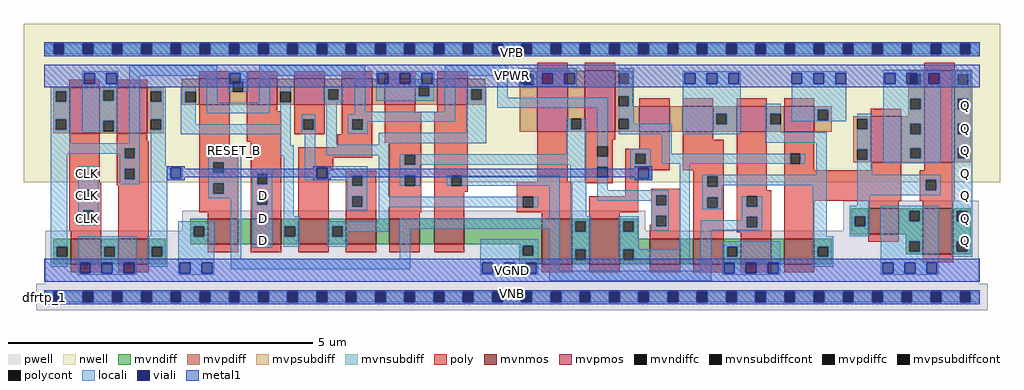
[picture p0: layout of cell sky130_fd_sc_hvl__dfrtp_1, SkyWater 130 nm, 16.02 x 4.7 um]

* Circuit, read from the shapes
.subckt sky130_fd_sc_hvl__dfrtp_1 CLK D RESET_B VGND VNB VPB VPWR Q
XM1 VGND CLK n1 VNB sky130_fd_pr__nfet_g5v0d10v5 w=0.42 l=0.5
XM2 n2 n1 VGND VNB sky130_fd_pr__nfet_g5v0d10v5 w=0.42 l=0.5
XM3 n3 RESET_B VGND VNB sky130_fd_pr__nfet_g5v0d10v5 w=0.42 l=0.5
XM4 n4 D n3 VNB sky130_fd_pr__nfet_g5v0d10v5 w=0.42 l=0.5
XM5 n5 n1 n4 VNB sky130_fd_pr__nfet_g5v0d10v5 w=0.42 l=0.5
XM6 n6 n2 n5 VNB sky130_fd_pr__nfet_g5v0d10v5 w=0.42 l=0.5
XM7 n7 n8 n6 VNB sky130_fd_pr__nfet_g5v0d10v5 w=0.42 l=0.5
XM8 VGND RESET_B n7 VNB sky130_fd_pr__nfet_g5v0d10v5 w=0.42 l=0.5
XM9 n8 n5 VGND VNB sky130_fd_pr__nfet_g5v0d10v5 w=0.75 l=0.5
XM10 n9 n2 n8 VNB sky130_fd_pr__nfet_g5v0d10v5 w=0.75 l=0.5
XM11 n10 n1 n9 VNB sky130_fd_pr__nfet_g5v0d10v5 w=0.42 l=0.5
XM12 VGND n11 n10 VNB sky130_fd_pr__nfet_g5v0d10v5 w=0.42 l=0.5
XM13 n12 RESET_B VGND VNB sky130_fd_pr__nfet_g5v0d10v5 w=0.42 l=0.5
XM14 n11 n9 n12 VNB sky130_fd_pr__nfet_g5v0d10v5 w=0.42 l=0.5
XM15 VGND n9 n13 VNB sky130_fd_pr__nfet_g5v0d10v5 w=0.42 l=0.5
XM16 Q n13 VGND VNB sky130_fd_pr__nfet_g5v0d10v5 w=0.75 l=0.5
XM17 VPWR CLK n1 VPB sky130_fd_pr__pfet_g5v0d10v5 w=0.75 l=0.5
XM18 n2 n1 VPWR VPB sky130_fd_pr__pfet_g5v0d10v5 w=0.75 l=0.5
XM19 VPWR RESET_B n4 VPB sky130_fd_pr__pfet_g5v0d10v5 w=0.42 l=0.5
XM20 n4 D VPWR VPB sky130_fd_pr__pfet_g5v0d10v5 w=0.42 l=0.5
XM21 n5 n2 n4 VPB sky130_fd_pr__pfet_g5v0d10v5 w=0.42 l=0.5
XM22 n14 n1 n5 VPB sky130_fd_pr__pfet_g5v0d10v5 w=0.42 l=0.5
XM23 VPWR n8 n14 VPB sky130_fd_pr__pfet_g5v0d10v5 w=0.42 l=0.5
XM24 n5 RESET_B VPWR VPB sky130_fd_pr__pfet_g5v0d10v5 w=0.42 l=0.5
XM25 n8 n5 VPWR VPB sky130_fd_pr__pfet_g5v0d10v5 w=1 l=0.5
XM26 n9 n1 n8 VPB sky130_fd_pr__pfet_g5v0d10v5 w=1 l=0.5
XM27 n15 n2 n9 VPB sky130_fd_pr__pfet_g5v0d10v5 w=0.42 l=0.5
XM28 VPWR n11 n15 VPB sky130_fd_pr__pfet_g5v0d10v5 w=0.42 l=0.5
XM29 n11 RESET_B VPWR VPB sky130_fd_pr__pfet_g5v0d10v5 w=0.42 l=0.5
XM30 VPWR n9 n11 VPB sky130_fd_pr__pfet_g5v0d10v5 w=0.42 l=0.5
XM31 VPWR n9 n13 VPB sky130_fd_pr__pfet_g5v0d10v5 w=0.75 l=0.5
XM32 Q n13 VPWR VPB sky130_fd_pr__pfet_g5v0d10v5 w=1.5 l=0.5
.ends

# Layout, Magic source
magic
tech sky130B
magscale 1 2
<< nwell >>
rect -66 377 3138 897
<< pwell >>
rect 454 217 1974 283
rect 2623 217 3068 317
rect 4 43 3068 217
rect -26 -43 3098 43
<< mvnmos >>
rect 87 107 187 191
rect 243 107 343 191
rect 537 173 637 257
rect 679 173 779 257
rect 835 173 935 257
rect 991 173 1091 257
rect 1133 173 1233 257
rect 1280 173 1380 257
rect 1633 107 1733 257
rect 1789 107 1889 257
rect 2706 207 2806 291
rect 1989 107 2089 191
rect 2131 107 2231 191
rect 2287 107 2387 191
rect 2429 107 2529 191
rect 2885 141 2985 291
<< mvpmos >>
rect 83 537 183 687
rect 239 537 339 687
rect 509 632 609 716
rect 665 632 765 716
rect 821 632 921 716
rect 977 632 1077 716
rect 1119 632 1219 716
rect 1291 632 1391 716
rect 1619 543 1719 743
rect 1775 543 1875 743
rect 1954 543 2054 627
rect 2096 543 2196 627
rect 2273 543 2373 627
rect 2429 543 2529 627
rect 2714 443 2814 593
rect 2889 443 2989 743
<< mvndiff >>
rect 480 232 537 257
rect 480 198 492 232
rect 526 198 537 232
rect 30 166 87 191
rect 30 132 42 166
rect 76 132 87 166
rect 30 107 87 132
rect 187 166 243 191
rect 187 132 198 166
rect 232 132 243 166
rect 187 107 243 132
rect 343 166 400 191
rect 480 173 537 198
rect 637 173 679 257
rect 779 232 835 257
rect 779 198 790 232
rect 824 198 835 232
rect 779 173 835 198
rect 935 232 991 257
rect 935 198 946 232
rect 980 198 991 232
rect 935 173 991 198
rect 1091 173 1133 257
rect 1233 173 1280 257
rect 1380 173 1633 257
rect 343 132 354 166
rect 388 132 400 166
rect 1560 169 1633 173
rect 343 107 400 132
rect 1560 135 1572 169
rect 1606 135 1633 169
rect 1560 107 1633 135
rect 1733 249 1789 257
rect 1733 215 1744 249
rect 1778 215 1789 249
rect 1733 157 1789 215
rect 1733 123 1744 157
rect 1778 123 1789 157
rect 1733 107 1789 123
rect 1889 249 1948 257
rect 1889 215 1902 249
rect 1936 215 1948 249
rect 1889 191 1948 215
rect 2649 266 2706 291
rect 2649 232 2661 266
rect 2695 232 2706 266
rect 2649 207 2706 232
rect 2806 283 2885 291
rect 2806 249 2840 283
rect 2874 249 2885 283
rect 2806 207 2885 249
rect 1889 157 1989 191
rect 1889 123 1902 157
rect 1936 123 1989 157
rect 1889 107 1989 123
rect 2089 107 2131 191
rect 2231 166 2287 191
rect 2231 132 2242 166
rect 2276 132 2287 166
rect 2231 107 2287 132
rect 2387 107 2429 191
rect 2529 166 2586 191
rect 2828 183 2885 207
rect 2529 132 2540 166
rect 2574 132 2586 166
rect 2828 149 2840 183
rect 2874 149 2885 183
rect 2828 141 2885 149
rect 2985 283 3042 291
rect 2985 249 2996 283
rect 3030 249 3042 283
rect 2985 183 3042 249
rect 2985 149 2996 183
rect 3030 149 3042 183
rect 2985 141 3042 149
rect 2529 107 2586 132
<< mvpdiff >>
rect 1562 730 1619 743
rect 30 675 83 687
rect 30 641 38 675
rect 72 641 83 675
rect 30 583 83 641
rect 30 549 38 583
rect 72 549 83 583
rect 30 537 83 549
rect 183 679 239 687
rect 183 645 194 679
rect 228 645 239 679
rect 183 579 239 645
rect 183 545 194 579
rect 228 545 239 579
rect 183 537 239 545
rect 339 675 392 687
rect 339 641 350 675
rect 384 641 392 675
rect 339 583 392 641
rect 452 674 509 716
rect 452 640 464 674
rect 498 640 509 674
rect 452 632 509 640
rect 609 708 665 716
rect 609 674 620 708
rect 654 674 665 708
rect 609 632 665 674
rect 765 674 821 716
rect 765 640 776 674
rect 810 640 821 674
rect 765 632 821 640
rect 921 682 977 716
rect 921 648 932 682
rect 966 648 977 682
rect 921 632 977 648
rect 1077 632 1119 716
rect 1219 693 1291 716
rect 1219 659 1230 693
rect 1264 659 1291 693
rect 1219 632 1291 659
rect 1391 682 1448 716
rect 1391 648 1402 682
rect 1436 648 1448 682
rect 1391 632 1448 648
rect 1562 696 1574 730
rect 1608 696 1619 730
rect 339 549 350 583
rect 384 549 392 583
rect 339 537 392 549
rect 1562 543 1619 696
rect 1719 585 1775 743
rect 1719 551 1730 585
rect 1764 551 1775 585
rect 1719 543 1775 551
rect 1875 735 1932 743
rect 1875 701 1886 735
rect 1920 701 1932 735
rect 1875 660 1932 701
rect 1875 626 1886 660
rect 1920 627 1932 660
rect 2836 731 2889 743
rect 2836 697 2844 731
rect 2878 697 2889 731
rect 2836 651 2889 697
rect 1920 626 1954 627
rect 1875 585 1954 626
rect 1875 551 1886 585
rect 1920 551 1954 585
rect 1875 543 1954 551
rect 2054 543 2096 627
rect 2196 602 2273 627
rect 2196 568 2207 602
rect 2241 568 2273 602
rect 2196 543 2273 568
rect 2373 602 2429 627
rect 2373 568 2384 602
rect 2418 568 2429 602
rect 2373 543 2429 568
rect 2529 615 2586 627
rect 2529 581 2540 615
rect 2574 581 2586 615
rect 2836 617 2844 651
rect 2878 617 2889 651
rect 2836 593 2889 617
rect 2529 543 2586 581
rect 2657 585 2714 593
rect 2657 551 2669 585
rect 2703 551 2714 585
rect 2657 485 2714 551
rect 2657 451 2669 485
rect 2703 451 2714 485
rect 2657 443 2714 451
rect 2814 569 2889 593
rect 2814 535 2844 569
rect 2878 535 2889 569
rect 2814 489 2889 535
rect 2814 455 2844 489
rect 2878 455 2889 489
rect 2814 443 2889 455
rect 2989 731 3042 743
rect 2989 697 3000 731
rect 3034 697 3042 731
rect 2989 651 3042 697
rect 2989 617 3000 651
rect 3034 617 3042 651
rect 2989 569 3042 617
rect 2989 535 3000 569
rect 3034 535 3042 569
rect 2989 489 3042 535
rect 2989 455 3000 489
rect 3034 455 3042 489
rect 2989 443 3042 455
<< mvndiffc >>
rect 492 198 526 232
rect 42 132 76 166
rect 198 132 232 166
rect 790 198 824 232
rect 946 198 980 232
rect 354 132 388 166
rect 1572 135 1606 169
rect 1744 215 1778 249
rect 1744 123 1778 157
rect 1902 215 1936 249
rect 2661 232 2695 266
rect 2840 249 2874 283
rect 1902 123 1936 157
rect 2242 132 2276 166
rect 2540 132 2574 166
rect 2840 149 2874 183
rect 2996 249 3030 283
rect 2996 149 3030 183
<< mvpdiffc >>
rect 38 641 72 675
rect 38 549 72 583
rect 194 645 228 679
rect 194 545 228 579
rect 350 641 384 675
rect 464 640 498 674
rect 620 674 654 708
rect 776 640 810 674
rect 932 648 966 682
rect 1230 659 1264 693
rect 1402 648 1436 682
rect 1574 696 1608 730
rect 350 549 384 583
rect 1730 551 1764 585
rect 1886 701 1920 735
rect 1886 626 1920 660
rect 2844 697 2878 731
rect 1886 551 1920 585
rect 2207 568 2241 602
rect 2384 568 2418 602
rect 2540 581 2574 615
rect 2844 617 2878 651
rect 2669 551 2703 585
rect 2669 451 2703 485
rect 2844 535 2878 569
rect 2844 455 2878 489
rect 3000 697 3034 731
rect 3000 617 3034 651
rect 3000 535 3034 569
rect 3000 455 3034 489
<< mvpsubdiff >>
rect 0 -17 31 17
rect 65 -17 127 17
rect 161 -17 223 17
rect 257 -17 319 17
rect 353 -17 415 17
rect 449 -17 511 17
rect 545 -17 607 17
rect 641 -17 703 17
rect 737 -17 799 17
rect 833 -17 895 17
rect 929 -17 991 17
rect 1025 -17 1087 17
rect 1121 -17 1183 17
rect 1217 -17 1279 17
rect 1313 -17 1375 17
rect 1409 -17 1471 17
rect 1505 -17 1567 17
rect 1601 -17 1663 17
rect 1697 -17 1759 17
rect 1793 -17 1855 17
rect 1889 -17 1951 17
rect 1985 -17 2047 17
rect 2081 -17 2143 17
rect 2177 -17 2239 17
rect 2273 -17 2335 17
rect 2369 -17 2431 17
rect 2465 -17 2527 17
rect 2561 -17 2623 17
rect 2657 -17 2719 17
rect 2753 -17 2815 17
rect 2849 -17 2911 17
rect 2945 -17 3007 17
rect 3041 -17 3072 17
<< mvnsubdiff >>
rect 0 797 31 831
rect 65 797 127 831
rect 161 797 223 831
rect 257 797 319 831
rect 353 797 415 831
rect 449 797 511 831
rect 545 797 607 831
rect 641 797 703 831
rect 737 797 799 831
rect 833 797 895 831
rect 929 797 991 831
rect 1025 797 1087 831
rect 1121 797 1183 831
rect 1217 797 1279 831
rect 1313 797 1375 831
rect 1409 797 1471 831
rect 1505 797 1567 831
rect 1601 797 1663 831
rect 1697 797 1759 831
rect 1793 797 1855 831
rect 1889 797 1951 831
rect 1985 797 2047 831
rect 2081 797 2143 831
rect 2177 797 2239 831
rect 2273 797 2335 831
rect 2369 797 2431 831
rect 2465 797 2527 831
rect 2561 797 2623 831
rect 2657 797 2719 831
rect 2753 797 2815 831
rect 2849 797 2911 831
rect 2945 797 3007 831
rect 3041 797 3072 831
<< mvpsubdiffcont >>
rect 31 -17 65 17
rect 127 -17 161 17
rect 223 -17 257 17
rect 319 -17 353 17
rect 415 -17 449 17
rect 511 -17 545 17
rect 607 -17 641 17
rect 703 -17 737 17
rect 799 -17 833 17
rect 895 -17 929 17
rect 991 -17 1025 17
rect 1087 -17 1121 17
rect 1183 -17 1217 17
rect 1279 -17 1313 17
rect 1375 -17 1409 17
rect 1471 -17 1505 17
rect 1567 -17 1601 17
rect 1663 -17 1697 17
rect 1759 -17 1793 17
rect 1855 -17 1889 17
rect 1951 -17 1985 17
rect 2047 -17 2081 17
rect 2143 -17 2177 17
rect 2239 -17 2273 17
rect 2335 -17 2369 17
rect 2431 -17 2465 17
rect 2527 -17 2561 17
rect 2623 -17 2657 17
rect 2719 -17 2753 17
rect 2815 -17 2849 17
rect 2911 -17 2945 17
rect 3007 -17 3041 17
<< mvnsubdiffcont >>
rect 31 797 65 831
rect 127 797 161 831
rect 223 797 257 831
rect 319 797 353 831
rect 415 797 449 831
rect 511 797 545 831
rect 607 797 641 831
rect 703 797 737 831
rect 799 797 833 831
rect 895 797 929 831
rect 991 797 1025 831
rect 1087 797 1121 831
rect 1183 797 1217 831
rect 1279 797 1313 831
rect 1375 797 1409 831
rect 1471 797 1505 831
rect 1567 797 1601 831
rect 1663 797 1697 831
rect 1759 797 1793 831
rect 1855 797 1889 831
rect 1951 797 1985 831
rect 2047 797 2081 831
rect 2143 797 2177 831
rect 2239 797 2273 831
rect 2335 797 2369 831
rect 2431 797 2465 831
rect 2527 797 2561 831
rect 2623 797 2657 831
rect 2719 797 2753 831
rect 2815 797 2849 831
rect 2911 797 2945 831
rect 3007 797 3041 831
<< poly >>
rect 1619 743 1719 769
rect 1775 743 1875 769
rect 2889 743 2989 769
rect 509 716 609 742
rect 665 716 765 742
rect 821 716 921 742
rect 977 716 1077 742
rect 1119 716 1219 742
rect 1291 716 1391 742
rect 83 687 183 713
rect 239 687 339 713
rect 83 373 183 537
rect 239 511 339 537
rect 239 489 343 511
rect 239 455 264 489
rect 298 455 343 489
rect 239 421 343 455
rect 239 387 264 421
rect 298 387 343 421
rect 83 353 187 373
rect 239 367 343 387
rect 83 319 128 353
rect 162 319 187 353
rect 83 285 187 319
rect 83 251 128 285
rect 162 251 187 285
rect 83 217 187 251
rect 87 191 187 217
rect 243 191 343 367
rect 509 462 609 632
rect 665 610 765 632
rect 665 510 779 610
rect 821 584 921 632
rect 821 550 851 584
rect 885 550 921 584
rect 821 534 921 550
rect 977 584 1077 632
rect 977 550 1012 584
rect 1046 550 1077 584
rect 977 534 1077 550
rect 509 442 637 462
rect 509 408 555 442
rect 589 408 637 442
rect 509 374 637 408
rect 509 340 555 374
rect 589 340 637 374
rect 509 279 637 340
rect 537 257 637 279
rect 679 405 779 510
rect 963 492 1077 534
rect 1119 606 1219 632
rect 1291 606 1391 632
rect 1119 506 1238 606
rect 679 371 699 405
rect 733 371 779 405
rect 679 337 779 371
rect 679 303 699 337
rect 733 303 779 337
rect 679 257 779 303
rect 835 457 1077 492
rect 1133 468 1238 506
rect 835 415 949 457
rect 1133 434 1184 468
rect 1218 434 1238 468
rect 835 257 935 415
rect 991 399 1091 415
rect 991 365 1011 399
rect 1045 365 1091 399
rect 991 331 1091 365
rect 991 297 1011 331
rect 1045 297 1091 331
rect 991 257 1091 297
rect 1133 400 1238 434
rect 1133 366 1184 400
rect 1218 366 1238 400
rect 1133 279 1238 366
rect 1280 399 1391 606
rect 1954 627 2054 653
rect 2096 627 2196 653
rect 2273 627 2373 653
rect 2429 627 2529 653
rect 2714 593 2814 619
rect 1280 365 1337 399
rect 1371 365 1391 399
rect 1619 379 1719 543
rect 1775 517 1875 543
rect 1775 495 1866 517
rect 1775 461 1816 495
rect 1850 461 1866 495
rect 1954 487 2054 543
rect 1775 427 1866 461
rect 1775 393 1816 427
rect 1850 393 1866 427
rect 1280 345 1391 365
rect 1133 257 1233 279
rect 1280 257 1380 345
rect 1552 329 1733 379
rect 1775 373 1866 393
rect 1908 471 2054 487
rect 1908 437 1941 471
rect 1975 437 2054 471
rect 1908 417 2054 437
rect 2096 517 2196 543
rect 2096 417 2231 517
rect 1908 331 1951 417
rect 2131 396 2231 417
rect 2131 362 2177 396
rect 2211 362 2231 396
rect 1552 295 1572 329
rect 1606 295 1733 329
rect 1552 279 1733 295
rect 1633 257 1733 279
rect 1789 279 1951 331
rect 1993 335 2089 355
rect 1993 301 2009 335
rect 2043 301 2089 335
rect 1789 257 1889 279
rect 1993 267 2089 301
rect 537 147 637 173
rect 679 147 779 173
rect 835 147 935 173
rect 991 147 1091 173
rect 1133 147 1233 173
rect 1280 147 1380 173
rect 1993 237 2009 267
rect 1989 233 2009 237
rect 2043 233 2089 267
rect 1989 191 2089 233
rect 2131 328 2231 362
rect 2131 294 2177 328
rect 2211 294 2231 328
rect 2131 191 2231 294
rect 2273 351 2373 543
rect 2429 471 2529 543
rect 2429 437 2449 471
rect 2483 437 2529 471
rect 2429 417 2529 437
rect 2714 417 2814 443
rect 2889 417 2989 443
rect 2273 331 2387 351
rect 2273 297 2307 331
rect 2341 297 2387 331
rect 2273 263 2387 297
rect 2273 229 2307 263
rect 2341 229 2387 263
rect 2273 213 2387 229
rect 2287 191 2387 213
rect 2429 317 2814 417
rect 2874 385 2989 417
rect 2874 351 2894 385
rect 2928 351 2989 385
rect 2874 317 2989 351
rect 2429 191 2529 317
rect 2706 291 2806 317
rect 2885 291 2985 317
rect 2706 181 2806 207
rect 2885 115 2985 141
rect 87 81 187 107
rect 243 81 343 107
rect 1633 81 1733 107
rect 1789 81 1889 107
rect 1989 81 2089 107
rect 2131 81 2231 107
rect 2287 81 2387 107
rect 2429 81 2529 107
<< polycont >>
rect 264 455 298 489
rect 264 387 298 421
rect 128 319 162 353
rect 128 251 162 285
rect 851 550 885 584
rect 1012 550 1046 584
rect 555 408 589 442
rect 555 340 589 374
rect 699 371 733 405
rect 699 303 733 337
rect 1184 434 1218 468
rect 1011 365 1045 399
rect 1011 297 1045 331
rect 1184 366 1218 400
rect 1337 365 1371 399
rect 1816 461 1850 495
rect 1816 393 1850 427
rect 1941 437 1975 471
rect 2177 362 2211 396
rect 1572 295 1606 329
rect 2009 301 2043 335
rect 2009 233 2043 267
rect 2177 294 2211 328
rect 2449 437 2483 471
rect 2307 297 2341 331
rect 2307 229 2341 263
rect 2894 351 2928 385
<< locali >>
rect 0 797 31 831
rect 65 797 127 831
rect 161 797 223 831
rect 257 797 319 831
rect 353 797 415 831
rect 449 797 511 831
rect 545 797 607 831
rect 641 797 703 831
rect 737 797 799 831
rect 833 797 895 831
rect 929 797 991 831
rect 1025 797 1087 831
rect 1121 797 1183 831
rect 1217 797 1279 831
rect 1313 797 1375 831
rect 1409 797 1471 831
rect 1505 797 1567 831
rect 1601 797 1663 831
rect 1697 797 1759 831
rect 1793 797 1855 831
rect 1889 797 1951 831
rect 1985 797 2047 831
rect 2081 797 2143 831
rect 2177 797 2239 831
rect 2273 797 2335 831
rect 2369 797 2431 831
rect 2465 797 2527 831
rect 2561 797 2623 831
rect 2657 797 2719 831
rect 2753 797 2815 831
rect 2849 797 2911 831
rect 2945 797 3007 831
rect 3041 797 3072 831
rect 126 735 244 741
rect 126 701 132 735
rect 166 701 204 735
rect 238 701 244 735
rect 22 675 88 691
rect 22 641 38 675
rect 72 641 88 675
rect 22 583 88 641
rect 22 549 38 583
rect 72 549 88 583
rect 22 505 88 549
rect 126 679 244 701
rect 126 645 194 679
rect 228 645 244 679
rect 126 579 244 645
rect 126 545 194 579
rect 228 545 244 579
rect 280 727 568 761
rect 280 505 314 727
rect 22 489 314 505
rect 22 471 264 489
rect 22 166 76 471
rect 248 455 264 471
rect 298 455 314 489
rect 112 353 178 430
rect 248 421 314 455
rect 248 387 264 421
rect 298 387 314 421
rect 248 371 314 387
rect 350 675 400 691
rect 384 641 400 675
rect 350 583 400 641
rect 384 549 400 583
rect 350 430 400 549
rect 448 674 498 691
rect 448 640 464 674
rect 448 568 498 640
rect 534 638 568 727
rect 604 735 670 741
rect 604 701 610 735
rect 644 708 670 735
rect 604 674 620 701
rect 654 674 670 708
rect 706 727 1054 761
rect 706 638 740 727
rect 534 604 740 638
rect 776 674 810 691
rect 916 682 982 691
rect 916 648 932 682
rect 966 648 982 682
rect 916 640 982 648
rect 776 568 810 640
rect 448 534 810 568
rect 846 584 890 600
rect 846 550 851 584
rect 885 550 890 584
rect 846 534 890 550
rect 776 498 810 534
rect 539 442 647 498
rect 776 464 820 498
rect 350 424 455 430
rect 350 390 415 424
rect 449 390 455 424
rect 350 384 455 390
rect 539 408 555 442
rect 589 408 647 442
rect 112 319 128 353
rect 162 319 178 353
rect 112 285 178 319
rect 112 251 128 285
rect 162 251 178 285
rect 112 235 178 251
rect 350 199 404 384
rect 539 374 647 408
rect 539 340 555 374
rect 589 340 647 374
rect 539 324 647 340
rect 22 132 42 166
rect 22 99 76 132
rect 112 166 302 199
rect 112 132 198 166
rect 232 132 302 166
rect 112 113 302 132
rect 112 79 118 113
rect 152 79 190 113
rect 224 79 262 113
rect 296 79 302 113
rect 338 166 404 199
rect 338 132 354 166
rect 388 132 404 166
rect 338 99 404 132
rect 440 232 558 249
rect 440 198 492 232
rect 526 198 558 232
rect 440 113 558 198
rect 112 73 302 79
rect 440 79 446 113
rect 480 79 518 113
rect 552 79 558 113
rect 613 126 647 324
rect 683 405 749 421
rect 683 371 699 405
rect 733 371 749 405
rect 683 337 749 371
rect 683 303 699 337
rect 733 303 749 337
rect 683 162 749 303
rect 786 265 820 464
rect 856 430 890 534
rect 926 500 960 640
rect 1020 609 1054 727
rect 1090 735 1280 741
rect 1090 701 1096 735
rect 1130 701 1168 735
rect 1202 701 1240 735
rect 1274 701 1280 735
rect 1090 693 1280 701
rect 1090 659 1230 693
rect 1264 659 1280 693
rect 1090 645 1280 659
rect 1316 727 1522 761
rect 1316 609 1350 727
rect 1020 600 1350 609
rect 996 584 1350 600
rect 996 550 1012 584
rect 1046 575 1350 584
rect 1386 682 1452 691
rect 1386 648 1402 682
rect 1436 648 1452 682
rect 1046 550 1062 575
rect 996 536 1062 550
rect 1386 539 1452 648
rect 1488 655 1522 727
rect 1558 735 1748 751
rect 1558 701 1564 735
rect 1598 730 1636 735
rect 1608 701 1636 730
rect 1670 701 1708 735
rect 1742 701 1748 735
rect 1558 696 1574 701
rect 1608 696 1748 701
rect 1558 691 1748 696
rect 1886 735 1936 751
rect 1920 701 1936 735
rect 1886 660 1936 701
rect 1488 621 1850 655
rect 1098 505 1452 539
rect 1714 551 1730 585
rect 1764 551 1780 585
rect 1098 500 1132 505
rect 926 466 1132 500
rect 1714 469 1780 551
rect 856 424 1061 430
rect 856 390 895 424
rect 929 399 1061 424
rect 929 390 1011 399
rect 856 384 1011 390
rect 995 365 1011 384
rect 1045 365 1061 399
rect 995 331 1061 365
rect 995 297 1011 331
rect 1045 297 1061 331
rect 995 285 1061 297
rect 1098 329 1132 466
rect 1168 468 1780 469
rect 1168 434 1184 468
rect 1218 435 1780 468
rect 1218 434 1234 435
rect 1168 400 1234 434
rect 1168 366 1184 400
rect 1218 366 1234 400
rect 1168 365 1234 366
rect 1321 365 1337 399
rect 1371 365 1692 399
rect 1098 295 1572 329
rect 1606 295 1622 329
rect 786 232 840 265
rect 1098 249 1132 295
rect 1658 259 1692 365
rect 786 198 790 232
rect 824 198 840 232
rect 786 165 840 198
rect 930 232 1132 249
rect 930 198 946 232
rect 980 215 1132 232
rect 1168 225 1692 259
rect 980 198 996 215
rect 930 165 996 198
rect 1168 126 1202 225
rect 613 92 1202 126
rect 1432 169 1622 189
rect 1432 135 1572 169
rect 1606 135 1622 169
rect 1432 113 1622 135
rect 440 73 558 79
rect 1432 79 1438 113
rect 1472 79 1510 113
rect 1544 79 1582 113
rect 1616 79 1622 113
rect 1432 73 1622 79
rect 1658 87 1692 225
rect 1728 265 1780 435
rect 1816 495 1850 621
rect 1920 626 1936 660
rect 1886 585 1936 626
rect 1920 569 1936 585
rect 2097 735 2287 741
rect 2097 701 2103 735
rect 2137 701 2175 735
rect 2209 701 2247 735
rect 2281 701 2287 735
rect 2097 602 2287 701
rect 2454 735 2633 741
rect 2488 701 2526 735
rect 2560 701 2598 735
rect 2632 701 2633 735
rect 1920 551 2061 569
rect 1886 535 2061 551
rect 2097 568 2207 602
rect 2241 568 2287 602
rect 2097 535 2287 568
rect 2368 602 2418 635
rect 2368 568 2384 602
rect 2454 615 2633 701
rect 2454 581 2540 615
rect 2574 581 2633 615
rect 2755 735 2944 747
rect 2755 701 2760 735
rect 2794 701 2832 735
rect 2866 731 2904 735
rect 2878 701 2904 731
rect 2938 701 2944 735
rect 2755 697 2844 701
rect 2878 697 2944 701
rect 2755 651 2944 697
rect 2755 617 2844 651
rect 2878 617 2944 651
rect 2454 577 2633 581
rect 2669 585 2719 601
rect 2368 541 2418 568
rect 2703 551 2719 585
rect 1816 427 1850 461
rect 1816 351 1850 393
rect 1925 471 1991 487
rect 1925 437 1941 471
rect 1975 437 1991 471
rect 2027 471 2061 535
rect 2368 507 2569 541
rect 2027 437 2449 471
rect 2483 437 2499 471
rect 1925 424 1991 437
rect 1925 390 1951 424
rect 1985 390 1991 424
rect 1925 387 1991 390
rect 1816 335 2050 351
rect 1816 317 2009 335
rect 1993 301 2009 317
rect 2043 301 2050 335
rect 1993 267 2050 301
rect 1728 249 1794 265
rect 1728 215 1744 249
rect 1778 215 1794 249
rect 1728 157 1794 215
rect 1728 123 1744 157
rect 1778 123 1794 157
rect 1886 249 1952 265
rect 1886 215 1902 249
rect 1936 215 1952 249
rect 1993 233 2009 267
rect 2043 233 2050 267
rect 1993 217 2050 233
rect 1886 157 1952 215
rect 2086 157 2120 437
rect 2535 401 2569 507
rect 2161 396 2569 401
rect 2161 362 2177 396
rect 2211 367 2569 396
rect 2211 362 2227 367
rect 2161 328 2227 362
rect 2161 294 2177 328
rect 2211 294 2227 328
rect 2161 289 2227 294
rect 2291 297 2307 331
rect 2341 297 2357 331
rect 2291 263 2357 297
rect 2291 253 2307 263
rect 1886 123 1902 157
rect 1936 123 2120 157
rect 2156 229 2307 253
rect 2341 229 2357 263
rect 2156 219 2357 229
rect 2156 87 2190 219
rect 2524 199 2569 367
rect 2669 485 2719 551
rect 2703 451 2719 485
rect 2669 401 2719 451
rect 2755 569 2944 617
rect 2755 535 2844 569
rect 2878 535 2944 569
rect 2755 489 2944 535
rect 2755 455 2844 489
rect 2878 455 2944 489
rect 2755 439 2944 455
rect 2980 731 3047 747
rect 2980 697 3000 731
rect 3034 697 3047 731
rect 2980 651 3047 697
rect 2980 617 3000 651
rect 3034 617 3047 651
rect 2980 569 3047 617
rect 2980 535 3000 569
rect 3034 535 3047 569
rect 2980 489 3047 535
rect 2980 455 3000 489
rect 3034 455 3047 489
rect 2669 385 2944 401
rect 2669 351 2894 385
rect 2928 351 2944 385
rect 2669 335 2944 351
rect 2669 299 2711 335
rect 2645 266 2711 299
rect 2645 232 2661 266
rect 2695 232 2711 266
rect 2645 199 2711 232
rect 2747 283 2937 299
rect 2747 249 2840 283
rect 2874 249 2937 283
rect 1658 53 2190 87
rect 2226 166 2416 183
rect 2226 132 2242 166
rect 2276 132 2416 166
rect 2226 113 2416 132
rect 2226 79 2232 113
rect 2266 79 2304 113
rect 2338 79 2376 113
rect 2410 79 2416 113
rect 2524 166 2590 199
rect 2524 132 2540 166
rect 2574 132 2590 166
rect 2524 99 2590 132
rect 2747 183 2937 249
rect 2747 149 2840 183
rect 2874 149 2937 183
rect 2747 113 2937 149
rect 2980 283 3047 455
rect 2980 249 2996 283
rect 3030 249 3047 283
rect 2980 183 3047 249
rect 2980 149 2996 183
rect 3030 149 3047 183
rect 2980 133 3047 149
rect 2226 73 2416 79
rect 2747 79 2753 113
rect 2787 79 2825 113
rect 2859 79 2897 113
rect 2931 79 2937 113
rect 2747 73 2937 79
rect 0 -17 31 17
rect 65 -17 127 17
rect 161 -17 223 17
rect 257 -17 319 17
rect 353 -17 415 17
rect 449 -17 511 17
rect 545 -17 607 17
rect 641 -17 703 17
rect 737 -17 799 17
rect 833 -17 895 17
rect 929 -17 991 17
rect 1025 -17 1087 17
rect 1121 -17 1183 17
rect 1217 -17 1279 17
rect 1313 -17 1375 17
rect 1409 -17 1471 17
rect 1505 -17 1567 17
rect 1601 -17 1663 17
rect 1697 -17 1759 17
rect 1793 -17 1855 17
rect 1889 -17 1951 17
rect 1985 -17 2047 17
rect 2081 -17 2143 17
rect 2177 -17 2239 17
rect 2273 -17 2335 17
rect 2369 -17 2431 17
rect 2465 -17 2527 17
rect 2561 -17 2623 17
rect 2657 -17 2719 17
rect 2753 -17 2815 17
rect 2849 -17 2911 17
rect 2945 -17 3007 17
rect 3041 -17 3072 17
<< viali >>
rect 31 797 65 831
rect 127 797 161 831
rect 223 797 257 831
rect 319 797 353 831
rect 415 797 449 831
rect 511 797 545 831
rect 607 797 641 831
rect 703 797 737 831
rect 799 797 833 831
rect 895 797 929 831
rect 991 797 1025 831
rect 1087 797 1121 831
rect 1183 797 1217 831
rect 1279 797 1313 831
rect 1375 797 1409 831
rect 1471 797 1505 831
rect 1567 797 1601 831
rect 1663 797 1697 831
rect 1759 797 1793 831
rect 1855 797 1889 831
rect 1951 797 1985 831
rect 2047 797 2081 831
rect 2143 797 2177 831
rect 2239 797 2273 831
rect 2335 797 2369 831
rect 2431 797 2465 831
rect 2527 797 2561 831
rect 2623 797 2657 831
rect 2719 797 2753 831
rect 2815 797 2849 831
rect 2911 797 2945 831
rect 3007 797 3041 831
rect 132 701 166 735
rect 204 701 238 735
rect 610 708 644 735
rect 610 701 620 708
rect 620 701 644 708
rect 415 390 449 424
rect 118 79 152 113
rect 190 79 224 113
rect 262 79 296 113
rect 446 79 480 113
rect 518 79 552 113
rect 1096 701 1130 735
rect 1168 701 1202 735
rect 1240 701 1274 735
rect 1564 730 1598 735
rect 1564 701 1574 730
rect 1574 701 1598 730
rect 1636 701 1670 735
rect 1708 701 1742 735
rect 895 390 929 424
rect 1438 79 1472 113
rect 1510 79 1544 113
rect 1582 79 1616 113
rect 2103 701 2137 735
rect 2175 701 2209 735
rect 2247 701 2281 735
rect 2454 701 2488 735
rect 2526 701 2560 735
rect 2598 701 2632 735
rect 2760 701 2794 735
rect 2832 731 2866 735
rect 2832 701 2844 731
rect 2844 701 2866 731
rect 2904 701 2938 735
rect 1951 390 1985 424
rect 2232 79 2266 113
rect 2304 79 2338 113
rect 2376 79 2410 113
rect 2753 79 2787 113
rect 2825 79 2859 113
rect 2897 79 2931 113
rect 31 -17 65 17
rect 127 -17 161 17
rect 223 -17 257 17
rect 319 -17 353 17
rect 415 -17 449 17
rect 511 -17 545 17
rect 607 -17 641 17
rect 703 -17 737 17
rect 799 -17 833 17
rect 895 -17 929 17
rect 991 -17 1025 17
rect 1087 -17 1121 17
rect 1183 -17 1217 17
rect 1279 -17 1313 17
rect 1375 -17 1409 17
rect 1471 -17 1505 17
rect 1567 -17 1601 17
rect 1663 -17 1697 17
rect 1759 -17 1793 17
rect 1855 -17 1889 17
rect 1951 -17 1985 17
rect 2047 -17 2081 17
rect 2143 -17 2177 17
rect 2239 -17 2273 17
rect 2335 -17 2369 17
rect 2431 -17 2465 17
rect 2527 -17 2561 17
rect 2623 -17 2657 17
rect 2719 -17 2753 17
rect 2815 -17 2849 17
rect 2911 -17 2945 17
rect 3007 -17 3041 17
<< metal1 >>
rect 0 831 3072 837
rect 0 797 31 831
rect 65 797 127 831
rect 161 797 223 831
rect 257 797 319 831
rect 353 797 415 831
rect 449 797 511 831
rect 545 797 607 831
rect 641 797 703 831
rect 737 797 799 831
rect 833 797 895 831
rect 929 797 991 831
rect 1025 797 1087 831
rect 1121 797 1183 831
rect 1217 797 1279 831
rect 1313 797 1375 831
rect 1409 797 1471 831
rect 1505 797 1567 831
rect 1601 797 1663 831
rect 1697 797 1759 831
rect 1793 797 1855 831
rect 1889 797 1951 831
rect 1985 797 2047 831
rect 2081 797 2143 831
rect 2177 797 2239 831
rect 2273 797 2335 831
rect 2369 797 2431 831
rect 2465 797 2527 831
rect 2561 797 2623 831
rect 2657 797 2719 831
rect 2753 797 2815 831
rect 2849 797 2911 831
rect 2945 797 3007 831
rect 3041 797 3072 831
rect 0 791 3072 797
rect 0 735 3072 763
rect 0 701 132 735
rect 166 701 204 735
rect 238 701 610 735
rect 644 701 1096 735
rect 1130 701 1168 735
rect 1202 701 1240 735
rect 1274 701 1564 735
rect 1598 701 1636 735
rect 1670 701 1708 735
rect 1742 701 2103 735
rect 2137 701 2175 735
rect 2209 701 2247 735
rect 2281 701 2454 735
rect 2488 701 2526 735
rect 2560 701 2598 735
rect 2632 701 2760 735
rect 2794 701 2832 735
rect 2866 701 2904 735
rect 2938 701 3072 735
rect 0 689 3072 701
rect 403 424 461 430
rect 403 390 415 424
rect 449 421 461 424
rect 883 424 941 430
rect 883 421 895 424
rect 449 393 895 421
rect 449 390 461 393
rect 403 384 461 390
rect 883 390 895 393
rect 929 421 941 424
rect 1939 424 1997 430
rect 1939 421 1951 424
rect 929 393 1951 421
rect 929 390 941 393
rect 883 384 941 390
rect 1939 390 1951 393
rect 1985 390 1997 424
rect 1939 384 1997 390
rect 0 113 3072 125
rect 0 79 118 113
rect 152 79 190 113
rect 224 79 262 113
rect 296 79 446 113
rect 480 79 518 113
rect 552 79 1438 113
rect 1472 79 1510 113
rect 1544 79 1582 113
rect 1616 79 2232 113
rect 2266 79 2304 113
rect 2338 79 2376 113
rect 2410 79 2753 113
rect 2787 79 2825 113
rect 2859 79 2897 113
rect 2931 79 3072 113
rect 0 51 3072 79
rect 0 17 3072 23
rect 0 -17 31 17
rect 65 -17 127 17
rect 161 -17 223 17
rect 257 -17 319 17
rect 353 -17 415 17
rect 449 -17 511 17
rect 545 -17 607 17
rect 641 -17 703 17
rect 737 -17 799 17
rect 833 -17 895 17
rect 929 -17 991 17
rect 1025 -17 1087 17
rect 1121 -17 1183 17
rect 1217 -17 1279 17
rect 1313 -17 1375 17
rect 1409 -17 1471 17
rect 1505 -17 1567 17
rect 1601 -17 1663 17
rect 1697 -17 1759 17
rect 1793 -17 1855 17
rect 1889 -17 1951 17
rect 1985 -17 2047 17
rect 2081 -17 2143 17
rect 2177 -17 2239 17
rect 2273 -17 2335 17
rect 2369 -17 2431 17
rect 2465 -17 2527 17
rect 2561 -17 2623 17
rect 2657 -17 2719 17
rect 2753 -17 2815 17
rect 2849 -17 2911 17
rect 2945 -17 3007 17
rect 3041 -17 3072 17
rect 0 -23 3072 -17
<< labels >>
rlabel comment s 0 0 0 0 4 dfrtp_1
flabel metal1 s 0 51 3072 125 0 FreeSans 340 0 0 0 VGND
port 4 nsew ground bidirectional
flabel metal1 s 0 0 3072 23 0 FreeSans 340 0 0 0 VNB
port 5 nsew ground bidirectional
flabel metal1 s 0 689 3072 763 0 FreeSans 340 0 0 0 VPWR
port 7 nsew power bidirectional
flabel metal1 s 0 791 3072 814 0 FreeSans 340 0 0 0 VPB
port 6 nsew power bidirectional
flabel locali s 703 168 737 202 0 FreeSans 340 0 0 0 D
port 2 nsew signal input
flabel locali s 703 242 737 276 0 FreeSans 340 0 0 0 D
port 2 nsew signal input
flabel locali s 703 316 737 350 0 FreeSans 340 0 0 0 D
port 2 nsew signal input
flabel locali s 127 242 161 276 0 FreeSans 340 0 0 0 CLK
port 1 nsew clock input
flabel locali s 127 316 161 350 0 FreeSans 340 0 0 0 CLK
port 1 nsew clock input
flabel locali s 127 390 161 424 0 FreeSans 340 0 0 0 CLK
port 1 nsew clock input
flabel locali s 607 464 641 498 0 FreeSans 340 0 0 0 RESET_B
port 3 nsew signal input
flabel locali s 3007 168 3041 202 0 FreeSans 340 0 0 0 Q
port 8 nsew signal output
flabel locali s 3007 242 3041 276 0 FreeSans 340 0 0 0 Q
port 8 nsew signal output
flabel locali s 3007 316 3041 350 0 FreeSans 340 0 0 0 Q
port 8 nsew signal output
flabel locali s 3007 390 3041 424 0 FreeSans 340 0 0 0 Q
port 8 nsew signal output
flabel locali s 3007 464 3041 498 0 FreeSans 340 0 0 0 Q
port 8 nsew signal output
flabel locali s 3007 538 3041 572 0 FreeSans 340 0 0 0 Q
port 8 nsew signal output
flabel locali s 3007 612 3041 646 0 FreeSans 340 0 0 0 Q
port 8 nsew signal output
<< properties >>
string FIXED_BBOX 0 0 3072 814
string GDS_END 948166
string GDS_FILE $PDKPATH/libs.ref/sky130_fd_sc_hvl/gds/sky130_fd_sc_hvl.gds
string GDS_START 919000
string LEFclass CORE
string LEFsite unithv
string LEFsymmetry X Y
<< end >>
